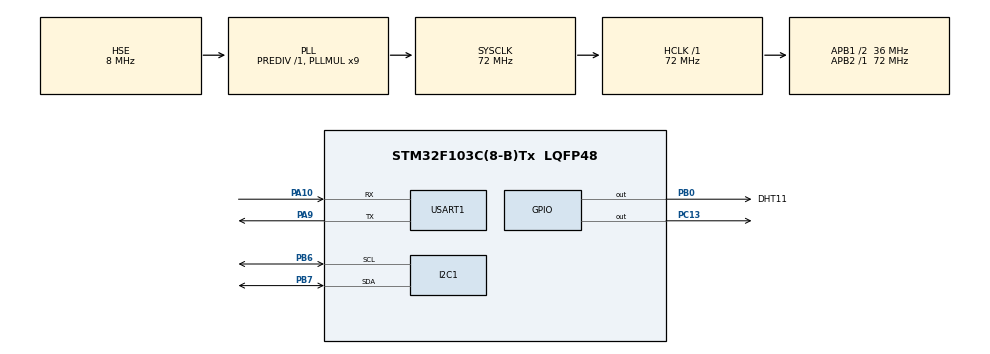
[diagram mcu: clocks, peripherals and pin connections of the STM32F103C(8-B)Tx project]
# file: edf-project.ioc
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FREERTOS.Mutexes01=dataMutex,Dynamic,NULL,Available
FREERTOS.Tasks01=edfManager,24,512,StartEdfManager,Default,NULL,Dynamic,NULL,NULL;taskDht11,8,128,StartTaskDht11,Default,NULL,Dynamic,NULL,NULL;taskWarning,8,128,StartTaskWarning,Default,NULL,Dynamic,NULL,NULL;taskRxUart,8,128,StartTaskRxUart,Default,NULL,Dynamic,NULL,NULL;taskTxUart,8,512,StartTaskTxUart,Default,NULL,Dynamic,NULL,NULL;taskLcd,8,128,StartTaskLcd,Default,NULL,Dynamic,NULL,NULL
FREERTOS.configTOTAL_HEAP_SIZE=10240
Mcu.Family=STM32F1
Mcu.Name=STM32F103C(8-B)Tx
Mcu.Package=LQFP48
NVIC.PriorityGroup=NVIC_PRIORITYGROUP_4
NVIC.TIM1_UP_IRQn=true\:15\:0\:false\:false\:true\:false\:false\:true\:true
NVIC.TimeBase=TIM1_UP_IRQn
NVIC.TimeBaseIP=TIM1
PA10.Mode=Asynchronous
PA10.Signal=USART1_RX
PA13.Mode=Serial_Wire
PA13.Signal=SYS_JTMS-SWDIO
PA14.Mode=Serial_Wire
PA14.Signal=SYS_JTCK-SWCLK
PA9.Mode=Asynchronous
PA9.Signal=USART1_TX
PB0.GPIO_Label=DHT11
PB0.Signal=GPIO_Output
PB6.Mode=I2C
PB6.Signal=I2C1_SCL
PB7.Mode=I2C
PB7.Signal=I2C1_SDA
PC13-TAMPER-RTC.Signal=GPIO_Output
PD0-OSC_IN.Mode=HSE-External-Oscillator
PD0-OSC_IN.Signal=RCC_OSC_IN
PD1-OSC_OUT.Mode=HSE-External-Oscillator
PD1-OSC_OUT.Signal=RCC_OSC_OUT
ProjectManager.HeapSize=0x200
ProjectManager.StackSize=0x400
ProjectManager.TargetToolchain=CMake
RCC.AHBFreq_Value=72000000
RCC.APB1CLKDivider=RCC_HCLK_DIV2
RCC.APB1Freq_Value=36000000
RCC.APB1TimFreq_Value=72000000
RCC.APB2Freq_Value=72000000
RCC.APB2TimFreq_Value=72000000
RCC.HCLKFreq_Value=72000000
RCC.PLLMUL=RCC_PLL_MUL9
RCC.PLLSourceVirtual=RCC_PLLSOURCE_HSE
RCC.SYSCLKFreq_VALUE=72000000
RCC.SYSCLKSource=RCC_SYSCLKSOURCE_PLLCLK
RCC.USBFreq_Value=72000000
TIM2.Prescaler=71
USART1.VirtualMode=VM_ASYNC
VP_FREERTOS_VS_CMSIS_V2.Mode=CMSIS_V2
VP_SYS_VS_tim1.Mode=TIM1
VP_TIM2_VS_ClockSourceINT.Mode=Internal
board=custom

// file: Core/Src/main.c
/* USER CODE BEGIN Header */
/**
  ******************************************************************************
  * @file           : main.c
  * @brief          : Main program body
  ******************************************************************************
  * @attention
  *
  * Copyright (c) 2026 STMicroelectronics.
  * All rights reserved.
  *
  * This software is licensed under terms that can be found in the LICENSE file
  * in the root directory of this software component.
  * If no LICENSE file comes with this software, it is provided AS-IS.
  *
  ******************************************************************************
  */
/* USER CODE END Header */
#include "main.h"

#include "cmsis_os.h"

/* USER CODE BEGIN Includes */
#include <stdio.h>  // Cho sprintf
#include <string.h> // Cho strlen
#include "CLCD_I2C.h"
/* USER CODE END Includes */

I2C_HandleTypeDef hi2c1;

TIM_HandleTypeDef htim2;

UART_HandleTypeDef huart1;

/* Definitions for edfManager */
osThreadId_t edfManagerHandle;
const osThreadAttr_t edfManager_attributes = {
  .name = "edfManager",
  .stack_size = 512 * 4,
  .priority = (osPriority_t) osPriorityRealtime,
};
/* Definitions for taskDht11 */
osThreadId_t taskDht11Handle;
const osThreadAttr_t taskDht11_attributes = {
  .name = "taskDht11",
  .stack_size = 128 * 4,
  .priority = (osPriority_t) osPriorityLow,
};
/* Definitions for taskWarning */
osThreadId_t taskWarningHandle;
const osThreadAttr_t taskWarning_attributes = {
  .name = "taskWarning",
  .stack_size = 128 * 4,
  .priority = (osPriority_t) osPriorityLow,
};
/* Definitions for taskRxUart */
osThreadId_t taskRxUartHandle;
const osThreadAttr_t taskRxUart_attributes = {
  .name = "taskRxUart",
  .stack_size = 256 * 4,
  .priority = (osPriority_t) osPriorityLow,
};
/* Definitions for taskTxUart */
osThreadId_t taskTxUartHandle;
const osThreadAttr_t taskTxUart_attributes = {
  .name = "taskTxUart",
  .stack_size = 512 * 4,
  .priority = (osPriority_t) osPriorityLow,
};
/* Definitions for taskLcd */
osThreadId_t taskLcdHandle;
const osThreadAttr_t taskLcd_attributes = {
  .name = "taskLcd",
  .stack_size = 512 * 4,
  .priority = (osPriority_t) osPriorityLow,
};
/* Definitions for dataMutex */
osMutexId_t dataMutexHandle;
const osMutexAttr_t dataMutex_attributes = {
  .name = "dataMutex"
};

osMutexId_t uartMutexHandle;
const osMutexAttr_t uartMutex_attributes = {
  .name = "uartMutex"
};

/* USER CODE BEGIN PV */
CLCD_I2C_Name LCD1;

typedef struct {
  uint8_t temp;
  uint8_t hum;
  uint8_t limit_temp;
  uint8_t limit_hum;
  uint8_t is_warning;
} SystemData_t;

typedef struct {
  osThreadId_t *handle_ptr; // Con trỏ trỏ đến Handle của Task
  uint32_t period;          // Chu kỳ (ms)
  uint32_t absolute_dl;     // Deadline tuyệt đối (thời điểm phải xong)
} EDF_Task_Block;

EDF_Task_Block taskList[] = {
  { &taskDht11Handle,   1000,  0 },
  { &taskWarningHandle, 1000,  0 },
  { &taskRxUartHandle,  1000,  0 },
  { &taskTxUartHandle,  3000,  0 },
  { &taskLcdHandle,     2000,  0 },
};

#define RX_BUFF_SIZE 100
uint8_t rx_byte;               // Nhận từng ký tự
char rx_buffer[RX_BUFF_SIZE];  // Gom thành chuỗi lệnh
uint8_t rx_indx = 0;           // Vị trí con trỏ buffer
uint8_t cmd_received_flag = 0; // Cờ báo có lệnh mới
int numTasks = 5;
volatile SystemData_t sysData = {0, 0, 35, 95, 0};

/* USER CODE END PV */

void SystemClock_Config(void);
static void MX_GPIO_Init(void);
static void MX_I2C1_Init(void);
static void MX_USART1_UART_Init(void);
static void MX_TIM2_Init(void);
void StartEdfManager(void *argument);
void StartTaskDht11(void *argument);
void StartTaskWarning(void *argument);
void StartTaskRxUart(void *argument);
void StartTaskTxUart(void *argument);
void StartTaskLcd(void *argument);

/* USER CODE BEGIN PFP */
uint8_t DHT11_Read_Data(uint8_t *temp, uint8_t *hum);
void delay_us(uint16_t us);
/* USER CODE END PFP */

int main(void)
{

  /* MCU Configuration--------------------------------------------------------*/

  /* Reset of all peripherals, Initializes the Flash interface and the Systick. */
  HAL_Init();

  /* Configure the system clock */
  SystemClock_Config();

  /* Initialize all configured peripherals */
  MX_GPIO_Init();
  MX_I2C1_Init();
  MX_USART1_UART_Init();
  MX_TIM2_Init();
  /* USER CODE BEGIN 2 */
  // HAL_UART_Receive_IT(&huart1, &rx_byte, 1);
  /* USER CODE END 2 */

  /* Init scheduler */
  osKernelInitialize();
  /* Create the mutex(es) */
  /* creation of dataMutex */
  dataMutexHandle = osMutexNew(&dataMutex_attributes);
  uartMutexHandle = osMutexNew(&uartMutex_attributes);

  /* Create the thread(s) */
  /* creation of edfManager */
  edfManagerHandle = osThreadNew(StartEdfManager, NULL, &edfManager_attributes);

  /* creation of taskDht11 */
  taskDht11Handle = osThreadNew(StartTaskDht11, NULL, &taskDht11_attributes);

  /* creation of taskWarning */
  taskWarningHandle = osThreadNew(StartTaskWarning, NULL, &taskWarning_attributes);

  /* creation of taskRxUart */
  taskRxUartHandle = osThreadNew(StartTaskRxUart, NULL, &taskRxUart_attributes);

  /* creation of taskTxUart */
  taskTxUartHandle = osThreadNew(StartTaskTxUart, NULL, &taskTxUart_attributes);

  /* creation of taskLcd */
  taskLcdHandle = osThreadNew(StartTaskLcd, NULL, &taskLcd_attributes);

  /* Start scheduler */
  osKernelStart();

  /* We should never get here as control is now taken by the scheduler */

  /* Infinite loop */
  while (1)
  {

  }
}

void SystemClock_Config(void)
{
  RCC_OscInitTypeDef RCC_OscInitStruct = {0};
  RCC_ClkInitTypeDef RCC_ClkInitStruct = {0};

  /** Initializes the RCC Oscillators according to the specified parameters
  * in the RCC_OscInitTypeDef structure.
  */
  RCC_OscInitStruct.OscillatorType = RCC_OSCILLATORTYPE_HSE;
  RCC_OscInitStruct.HSEState = RCC_HSE_ON;
  RCC_OscInitStruct.HSEPredivValue = RCC_HSE_PREDIV_DIV1;
  RCC_OscInitStruct.HSIState = RCC_HSI_ON;
  RCC_OscInitStruct.PLL.PLLState = RCC_PLL_ON;
  RCC_OscInitStruct.PLL.PLLSource = RCC_PLLSOURCE_HSE;
  RCC_OscInitStruct.PLL.PLLMUL = RCC_PLL_MUL9;
  if (HAL_RCC_OscConfig(&RCC_OscInitStruct) != HAL_OK)
  {
    Error_Handler();
  }

  /** Initializes the CPU, AHB and APB buses clocks
  */
  RCC_ClkInitStruct.ClockType = RCC_CLOCKTYPE_HCLK|RCC_CLOCKTYPE_SYSCLK
                              |RCC_CLOCKTYPE_PCLK1|RCC_CLOCKTYPE_PCLK2;
  RCC_ClkInitStruct.SYSCLKSource = RCC_SYSCLKSOURCE_PLLCLK;
  RCC_ClkInitStruct.AHBCLKDivider = RCC_SYSCLK_DIV1;
  RCC_ClkInitStruct.APB1CLKDivider = RCC_HCLK_DIV2;
  RCC_ClkInitStruct.APB2CLKDivider = RCC_HCLK_DIV1;

  if (HAL_RCC_ClockConfig(&RCC_ClkInitStruct, FLASH_LATENCY_2) != HAL_OK)
  {
    Error_Handler();
  }
}

static void MX_I2C1_Init(void)
{

  hi2c1.Instance = I2C1;
  hi2c1.Init.ClockSpeed = 100000;
  hi2c1.Init.DutyCycle = I2C_DUTYCYCLE_2;
  hi2c1.Init.OwnAddress1 = 0;
  hi2c1.Init.AddressingMode = I2C_ADDRESSINGMODE_7BIT;
  hi2c1.Init.DualAddressMode = I2C_DUALADDRESS_DISABLE;
  hi2c1.Init.OwnAddress2 = 0;
  hi2c1.Init.GeneralCallMode = I2C_GENERALCALL_DISABLE;
  hi2c1.Init.NoStretchMode = I2C_NOSTRETCH_DISABLE;
  if (HAL_I2C_Init(&hi2c1) != HAL_OK)
  {
    Error_Handler();
  }

}

static void MX_TIM2_Init(void)
{

  TIM_ClockConfigTypeDef sClockSourceConfig = {0};
  TIM_MasterConfigTypeDef sMasterConfig = {0};

  htim2.Instance = TIM2;
  htim2.Init.Prescaler = 71;
  htim2.Init.CounterMode = TIM_COUNTERMODE_UP;
  htim2.Init.Period = 65535;
  htim2.Init.ClockDivision = TIM_CLOCKDIVISION_DIV1;
  htim2.Init.AutoReloadPreload = TIM_AUTORELOAD_PRELOAD_DISABLE;
  if (HAL_TIM_Base_Init(&htim2) != HAL_OK)
  {
    Error_Handler();
  }
  sClockSourceConfig.ClockSource = TIM_CLOCKSOURCE_INTERNAL;
  if (HAL_TIM_ConfigClockSource(&htim2, &sClockSourceConfig) != HAL_OK)
  {
    Error_Handler();
  }
  sMasterConfig.MasterOutputTrigger = TIM_TRGO_RESET;
  sMasterConfig.MasterSlaveMode = TIM_MASTERSLAVEMODE_DISABLE;
  if (HAL_TIMEx_MasterConfigSynchronization(&htim2, &sMasterConfig) != HAL_OK)
  {
    Error_Handler();
  }

}

static void MX_USART1_UART_Init(void)
{

  huart1.Instance = USART1;
  huart1.Init.BaudRate = 115200;
  huart1.Init.WordLength = UART_WORDLENGTH_8B;
  huart1.Init.StopBits = UART_STOPBITS_1;
  huart1.Init.Parity = UART_PARITY_NONE;
  huart1.Init.Mode = UART_MODE_TX_RX;
  huart1.Init.HwFlowCtl = UART_HWCONTROL_NONE;
  huart1.Init.OverSampling = UART_OVERSAMPLING_16;
  if (HAL_UART_Init(&huart1) != HAL_OK)
  {
    Error_Handler();
  }

}

static void MX_GPIO_Init(void)
{
  GPIO_InitTypeDef GPIO_InitStruct = {0};

  /* GPIO Ports Clock Enable */
  __HAL_RCC_GPIOC_CLK_ENABLE();
  __HAL_RCC_GPIOD_CLK_ENABLE();
  __HAL_RCC_GPIOB_CLK_ENABLE();
  __HAL_RCC_GPIOA_CLK_ENABLE();

  /*Configure GPIO pin Output Level */
  HAL_GPIO_WritePin(GPIOC, GPIO_PIN_13, GPIO_PIN_RESET);

  /*Configure GPIO pin Output Level */
  HAL_GPIO_WritePin(DHT11_GPIO_Port, DHT11_Pin, GPIO_PIN_RESET);

  /*Configure GPIO pin : PC13 */
  GPIO_InitStruct.Pin = GPIO_PIN_13;
  GPIO_InitStruct.Mode = GPIO_MODE_OUTPUT_PP;
  GPIO_InitStruct.Pull = GPIO_NOPULL;
  GPIO_InitStruct.Speed = GPIO_SPEED_FREQ_LOW;
  HAL_GPIO_Init(GPIOC, &GPIO_InitStruct);

  /*Configure GPIO pin : DHT11_Pin */
  GPIO_InitStruct.Pin = DHT11_Pin;
  GPIO_InitStruct.Mode = GPIO_MODE_OUTPUT_PP;
  GPIO_InitStruct.Pull = GPIO_NOPULL;
  GPIO_InitStruct.Speed = GPIO_SPEED_FREQ_LOW;
  HAL_GPIO_Init(DHT11_GPIO_Port, &GPIO_InitStruct);

}

/* USER CODE BEGIN 4 */
void delay_us(uint16_t us)
{
  __HAL_TIM_SET_COUNTER(&htim2, 0); // Reset bộ đếm TIM2 về 0
  while (__HAL_TIM_GET_COUNTER(&htim2) < us); // Chờ đến khi đủ thời gian
}

static void DHT11_SetDir(uint8_t output)
{

  if (output) {
    GPIOB->CRL &= ~(0xF << 0); // Xóa cấu hình cũ của PB0
    GPIOB->CRL |= (1 << 0); // Output Push-Pull 10MHz
  } else {
    GPIOB->CRL &= ~(0xF << 0); // Xóa cấu hình cũ
    GPIOB->CRL |= (8 << 0); // Input Push-Pull/Floating
  }
}

uint8_t DHT11_Read_Data(uint8_t *temp, uint8_t *hum) {
  uint8_t data[5] = {0};
  uint32_t wait_cnt = 0;

  /* 1. Gửi tín hiệu Start */
  DHT11_SetDir(1); // Output
  HAL_GPIO_WritePin(GPIOB, DHT11_Pin, GPIO_PIN_RESET);
  HAL_Delay(20); // Kéo thấp 20ms
  HAL_GPIO_WritePin(GPIOB, DHT11_Pin, GPIO_PIN_SET);
  delay_us(30); // Kéo cao 30us

  /* 2. Chuyển sang Input */
  DHT11_SetDir(0);

  taskENTER_CRITICAL();

  wait_cnt = 0;
  while ((GPIOB->IDR & DHT11_Pin)) {
    wait_cnt++;
    if (wait_cnt > 1000) {
      taskEXIT_CRITICAL();
      return 0;
    }
  }
  // Chờ kéo lên cao (80us)
  wait_cnt = 0;
  while (!(GPIOB->IDR & DHT11_Pin)) {
    wait_cnt++;
    if (wait_cnt > 1000) {
      taskEXIT_CRITICAL();
      return 0;
    }
  }
  // Chờ xuống thấp lại để bắt đầu bit đầu tiên
  wait_cnt = 0;
  while ((GPIOB->IDR & DHT11_Pin)) {
    wait_cnt++;
    if (wait_cnt > 1000) {
      taskEXIT_CRITICAL();
      return 0;
    }
  }

  /* 4. Đọc 40 bit */
  for (int i = 0; i < 40; i++) {
    // Chờ bit bắt đầu (đang thấp -> chờ lên cao)
    wait_cnt = 0;
    while (!(GPIOB->IDR & DHT11_Pin)) {
      wait_cnt++;
      if (wait_cnt > 1000) {
        taskEXIT_CRITICAL();
        return 0;
      }
    }

    // Đo độ rộng mức cao để phân biệt 0/1
    delay_us(40);

    if ((GPIOB->IDR & DHT11_Pin)) {
      // Vẫn cao -> Bit 1
      data[i / 8] |= (1 << (7 - (i % 8)));

      // Chờ hết mức cao
      wait_cnt = 0;
      while ((GPIOB->IDR & DHT11_Pin)) {
        wait_cnt++;
        if (wait_cnt > 1000) {
          taskEXIT_CRITICAL();
          return 0;
        }
      }
    }
  }

  /* 5. MỞ NGẮT */
  taskEXIT_CRITICAL();

  if (data[4] == (data[0] + data[1] + data[2] + data[3]))
  {
    *hum  = data[0]; // Byte 0: Độ ẩm phần nguyên
    *temp = data[2]; // Byte 2: Nhiệt độ phần nguyên

    return 1;
  }
  return 0;
}

/* USER CODE END 4 */

void StartEdfManager(void *argument)
{
  /* USER CODE BEGIN 5 */
  osThreadSetPriority(edfManagerHandle, osPriorityRealtime);
  uint32_t now = osKernelGetTickCount();
  for(int i=0; i<numTasks; i++) {
    taskList[i].absolute_dl = now + taskList[i].period;
  }

  for(;;)
  {
    now = osKernelGetTickCount();

    for (int i = 0; i < numTasks; i++)
    {
      if (now >= taskList[i].absolute_dl) {
        taskList[i].absolute_dl += taskList[i].period;
      }
    }

    uint32_t minDeadline = 0xFFFFFFFF;
    int winnerIndex = -1;

    for (int i = 0; i < numTasks; i++) {
      if (taskList[i].absolute_dl < minDeadline) {
        minDeadline = taskList[i].absolute_dl;
        winnerIndex = i;
      }
    }

    for (int i = 0; i < numTasks; i++)
    {
      osThreadId_t targetTask = *(taskList[i].handle_ptr);
      if (i == winnerIndex)
        osThreadSetPriority(targetTask, osPriorityAboveNormal);
      else
        osThreadSetPriority(targetTask, osPriorityLow);
    }

    osDelay(10);

  }  /* USER CODE END 5 */
}

void StartTaskDht11(void *argument)
{
  /* USER CODE BEGIN StartTaskDht11 */
  HAL_TIM_Base_Start(&htim2); // Start Timer cho delay_us

  uint8_t t=0, h=0;
  /* Infinite loop */
  for(;;) {
    // 1. Đọc 4 thông số từ cảm biến
  if (DHT11_Read_Data(&t, &h) == 1)
  {
      // 2. Cập nhật vào Struct chung (Có Mutex)
      if (osMutexWait(dataMutexHandle, osWaitForever) == osOK)
      {
        sysData.temp = t;
        sysData.hum  = h;
        osMutexRelease(dataMutexHandle);
      }
    }

    // 3. Nghỉ 1000ms
    osDelay(1000);
  }
  /* USER CODE END StartTaskDht11 */
}

void StartTaskWarning(void *argument)
{
  /* USER CODE BEGIN StartTaskWarning */
  uint8_t t=0, h=0, lt=0, lh=0, w=0;
  for(;;)
  {
    if (osMutexWait(dataMutexHandle, osWaitForever) == osOK)
    {
      t  = sysData.temp;
      h  = sysData.hum;
      lt = sysData.limit_temp;
      lh = sysData.limit_hum;
      osMutexRelease(dataMutexHandle);
    }

    // So sánh và bật đèn
    if (t > lt || h > lh) {
      w = 1;
      HAL_GPIO_TogglePin(GPIOC, GPIO_PIN_13); // Nháy đèn
    } else {
      w = 0;
      HAL_GPIO_WritePin(GPIOC, GPIO_PIN_13, GPIO_PIN_RESET); // Tắt đèn
    }

    // Cập nhật lại cờ warning
    if (osMutexWait(dataMutexHandle, osWaitForever) == osOK) {
      sysData.is_warning = w;
      osMutexRelease(dataMutexHandle);
    }
    osDelay(1000);
  }
  /* USER CODE END StartTaskWarning */
}

void StartTaskRxUart(void *argument)
{
  /* USER CODE BEGIN StartTaskRxUart */
  uint8_t rxChar = 0;
  char rxBuffer[50] = {0}; // Increased size for longer commands
  uint8_t index = 0;

  char msg[64]; // Buffer for sending response back

  /* Infinite loop */
  for(;;)
  {
    // Wait for a character (Blocking mode)
    if (HAL_UART_Receive(&huart1, &rxChar, 1, HAL_MAX_DELAY) == HAL_OK)
    {
      // Check for Newline (Enter key)
      if (rxChar == '\r' || rxChar == '\n')
      {
        if (index > 0)
        {
          rxBuffer[index] = '\0'; // Null-terminate the string so sscanf can read it

          int new_t = 0;
          int new_h = 0;

          if (sscanf(rxBuffer, "Set T=%d H=%d", &new_t, &new_h) == 2)
          {
            // Update Global Variables safely with Mutex
            if (osMutexWait(dataMutexHandle, osWaitForever) == osOK)
            {
              sysData.limit_temp = (uint8_t)new_t;
              sysData.limit_hum  = (uint8_t)new_h;
              osMutexRelease(dataMutexHandle);
            }

            // Send confirmation
            sprintf(msg, " Limit Updated: T=%d H=%d\r\n", new_t, new_h);
            HAL_UART_Transmit(&huart1, (uint8_t*)msg, strlen(msg), 100);
          }

          if (sscanf(rxBuffer, "Set ID=%d P=%d", &new_t, &new_h) == 2)
          {
            // Update Global Variables safely with Mutex
            if (osMutexWait(dataMutexHandle, osWaitForever) == osOK)
            {
              taskList[new_t].period = (uint32_t)new_h;
              osMutexRelease(dataMutexHandle);
            }

            // Send confirmation
            sprintf(msg, " Task %d Period Update: %d\r\n", new_t, new_h);
            HAL_UART_Transmit(&huart1, (uint8_t*)msg, strlen(msg), 100);
          }

          // Reset buffer for next command
          index = 0;
          memset(rxBuffer, 0, sizeof(rxBuffer));
        }
      }
      else
      {
        // Add character to buffer if space allows
        if (index < sizeof(rxBuffer) - 1)
        {
          rxBuffer[index++] = rxChar;
        }
      }
    }
  }
  osDelay(1000);
}

void StartTaskTxUart(void *argument)
{
  char msg[100]; // Biến đệm để chứa chuỗi log
  uint8_t t=0, h=0, w=0;
  uint8_t lt=0, lh=0;

  for(;;)
  {
    // 1. Lấy dữ liệu từ vùng nhớ chung
    if(osMutexWait(dataMutexHandle, osWaitForever) == osOK)
    {
      t  = sysData.temp;
      h  = sysData.hum;
      w  = sysData.is_warning;
      lt = sysData.limit_temp;
      lh = sysData.limit_hum;
      osMutexRelease(dataMutexHandle);
    }

    // 2. Format chuỗi gửi lên máy tính
    // Mẫu: "Temp: 30 | Hum: 70 | Warn: 0 | Limit: 35-95"
    sprintf(msg, "Temp: %d | Hum: %d | Warn: %d | Limit: %d-%d\r\n", t, h, w, lt, lh);

    // 3. Gửi qua UART
    HAL_UART_Transmit(&huart1, (uint8_t*)msg, strlen(msg), 100);

    // 4. Delay theo chu kỳ được cài đặt trong taskList[3]
    // Mặc định là 3000ms, nhưng có thể thay đổi bằng lệnh
    osDelay(taskList[3].period);

  }
}

void StartTaskLcd(void *argument)
{
  /* USER CODE BEGIN StartTaskLcd */
  /* 1. KHOI TAO LCD */
  // Tham so: &BienLCD, &BienI2C, DiaChi, SoCot, SoHang
  // Dia chi thuong la 0x4E hoac 0x7E. Neu khong len hinh thu doi sang 0x7E
  CLCD_I2C_Init(&LCD1, &hi2c1, 0x4E, 16, 2);

  // Hien thi man hinh chao (Option)
  CLCD_I2C_Clear(&LCD1);

  char lcd_line1[17];
  char lcd_line2[17];
  uint8_t t=0, h=0;
  uint8_t lt=0, lh=0, w=0;  /* Infinite loop */
  for(;;) {
    // 2. LAY DU LIEU (Mutex)
    if (osMutexWait(dataMutexHandle, osWaitForever) == osOK)
    {
      t  = sysData.temp;
      h  = sysData.hum;
      lt = sysData.limit_temp;
      lh = sysData.limit_hum;
      w  = sysData.is_warning;
      osMutexRelease(dataMutexHandle);
    }

    // 3. HIEN THI
    // Format: "Temp: 28 Hum: 80"
    // Them khoang trang o cuoi de xoa ky tu thua neu so bi giam (vd 100 -> 99)
    sprintf(lcd_line1, "Temp:%d Hum:%d", t, h);

    // Ghi len Hang 1 (Trong thu vien nay quy dinh: X=Cot, Y=Hang)
    CLCD_I2C_SetCursor(&LCD1, 0, 0);
    CLCD_I2C_WriteString(&LCD1, lcd_line1);

    sprintf(lcd_line2, "T=%d H=%d | W=%d", lt, lh, w);
    CLCD_I2C_SetCursor(&LCD1, 0, 1); // Xuống hàng 2
    CLCD_I2C_WriteString(&LCD1, lcd_line2);

    // 4. CHU KY 2000ms
    osDelay(2000);  /* USER CODE END StartTaskLcd */
  }
}

void HAL_TIM_PeriodElapsedCallback(TIM_HandleTypeDef *htim)
{
  if (htim->Instance == TIM1)
  {
    HAL_IncTick();
  }
}

void Error_Handler(void)
{
  __disable_irq();
  while (1)
  {
  }
}
